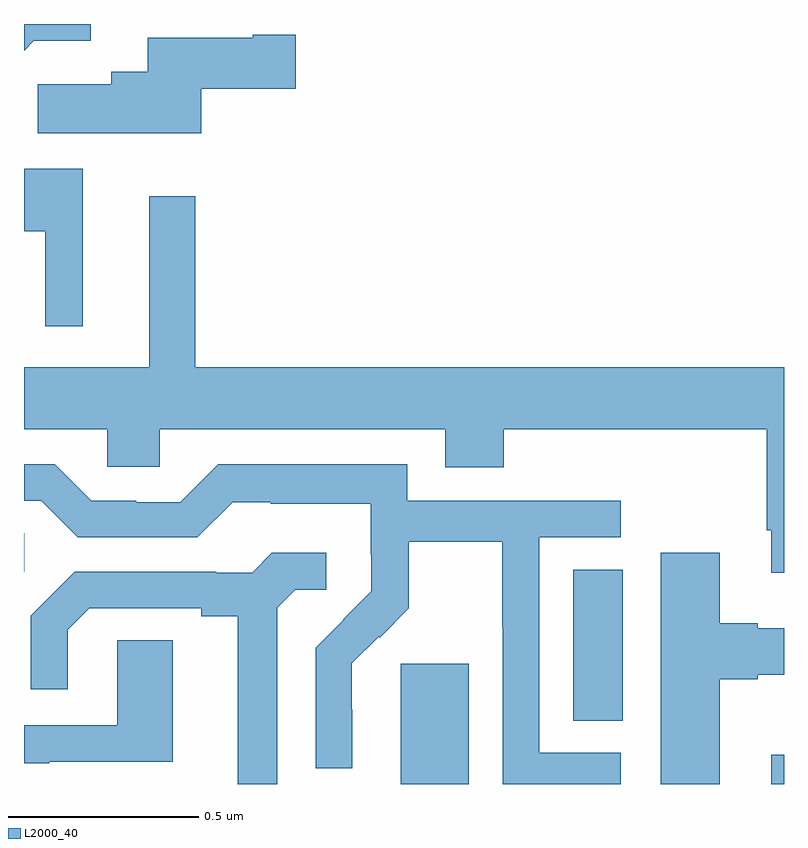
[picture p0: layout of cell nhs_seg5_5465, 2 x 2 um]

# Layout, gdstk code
import gdstk
lib = gdstk.Library(unit=1e-6, precision=1e-09)
def R(c, l, rs):  # rectangles x0, y0, x1, y1
    for r in rs: c.add(gdstk.rectangle(r[:2], r[2:], *l))
def P(c, l, *ps):  # polygons
    for p in ps: c.add(gdstk.Polygon(p, *l))
L2000_40 = (2000, 40)

nhs_seg5_5465 = lib.new_cell('nhs_seg5_5465')
R(nhs_seg5_5465, L2000_40, [(183.992,883.799,184.171,884.115), (184.967,883.799,185,883.876), (184.445,883.966,184.576,884.363), (183,884.358,183.001,884.459)])
P(nhs_seg5_5465, L2000_40, [(183.026,885.755),(183.175,885.755),(183.175,885.799),(183,885.799),(183,885.729)],
  [(183.466,885.629),(183.715,885.629),(183.715,885.771),(183.602,885.771),(183.602,885.763),(183.326,885.763),(183.326,885.673),(183.23,885.673),(183.23,885.641),(183.036,885.641),(183.036,885.512),(183.466,885.512)],
  [(183.154,885.418),(183,885.418),(183,885.254),(183.056,885.254),(183.056,885.003),(183.154,885.003)],
  [(183.451,885.346),(183.329,885.346),(183.329,884.896),(183,884.896),(183,884.732),(183.219,884.732),(183.219,884.634),(183.357,884.634),(183.357,884.732),(184.109,884.732),(184.109,884.633),(184.262,884.633),(184.262,884.732),(184.955,884.732),(184.955,884.467),(184.967,884.467),(184.967,884.355),(185,884.355),(185,884.896),(183.451,884.896)],
  [(184.57,883.881),(184.356,883.881),(184.356,884.448),(184.57,884.448),(184.57,884.544),(184.008,884.544),(184.008,884.641),(183.511,884.641),(183.411,884.541),(183.296,884.541),(183.296,884.544),(183.177,884.544),(183.081,884.64),(183,884.64),(183,884.544),(183.045,884.544),(183.141,884.448),(183.456,884.448),(183.549,884.541),(183.649,884.541),(183.649,884.537),(183.912,884.537),(183.912,884.403),(183.914,884.403),(183.914,884.306),(183.84,884.232),(183.841,884.231),(183.768,884.158),(183.768,883.84),(183.864,883.84),(183.864,883.994),(183.863,883.994),(183.863,884.117),(183.933,884.187),(183.936,884.184),(184.013,884.261),(184.013,884.436),(184.258,884.436),(184.258,884.212),(184.26,884.212),(184.26,883.799),(184.57,883.799)],
  [(184.831,884.075),(184.931,884.075),(184.931,884.087),(185,884.087),(185,884.209),(184.931,884.209),(184.931,884.222),(184.831,884.222),(184.831,884.407),(184.676,884.407),(184.676,883.799),(184.831,883.799)],
  [(183.667,884.263),(183.714,884.31),(183.796,884.31),(183.796,884.407),(183.652,884.407),(183.6,884.355),(183.506,884.355),(183.506,884.358),(183.134,884.358),(183.018,884.242),(183.018,884.049),(183.115,884.049),(183.115,884.205),(183.172,884.262),(183.467,884.262),(183.467,884.24),(183.563,884.24),(183.563,883.799),(183.667,883.799)],
  [(183.067,883.857),(183.391,883.857),(183.391,884.177),(183.246,884.177),(183.246,883.953),(183,883.953),(183,883.853),(183.067,883.853)])

lib.write_gds('nhs_seg5_5465.gds')
